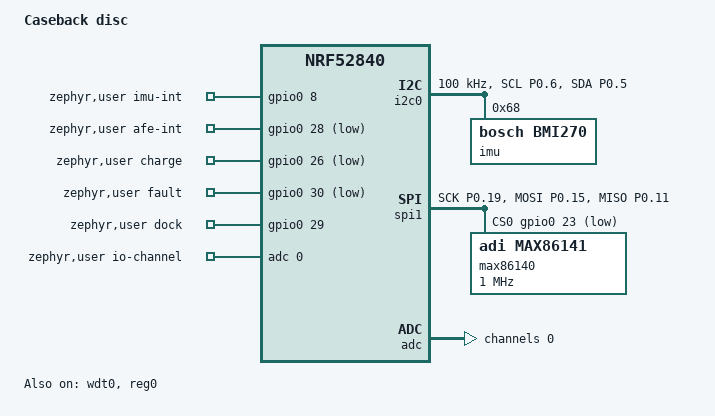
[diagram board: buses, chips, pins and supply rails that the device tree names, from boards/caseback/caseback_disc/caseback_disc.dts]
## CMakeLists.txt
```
cmake_minimum_required(VERSION 3.20.0)
list(APPEND BOARD_ROOT ${CMAKE_CURRENT_SOURCE_DIR})
list(APPEND DTS_ROOT ${CMAKE_CURRENT_SOURCE_DIR})
find_package(Zephyr REQUIRED HINTS $ENV{ZEPHYR_BASE})
project(caseback_fw)
target_sources(app PRIVATE src/main.c src/device.c src/protocol.c)
target_include_directories(app PRIVATE include)

if(CONFIG_BOARD_CASEBACK_DISC)
  target_sources(app PRIVATE src/disc.c src/bench_data.c src/history.c src/disc_history.c src/factory.c src/factory_state.c)
  target_sources_ifdef(CONFIG_CASEBACK_OPTICAL_PROFILE app PRIVATE src/optical_profile.c src/optical_stats.c src/optical_engine.c)
endif()
```

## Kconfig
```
mainmenu "Caseback firmware"

config CASEBACK_REQUIRE_ENCRYPTION
	bool "Require an encrypted link to read the INFO characteristic"
	default y
	help
	  INFO carries the device id, so decision D5 wants it readable only
	  after pairing. The bring-up prj.conf sets this to n so that nRF
	  Connect can read it before bonding.

config CASEBACK_HW_REV
	int "hw_rev reported in INFO_RESPONSE (major << 8 | minor)"
	default 1
	range 0 65535

config CASEBACK_FW_REV
	int "fw_rev reported in INFO_RESPONSE (major << 8 | minor)"
	default 1
	range 0 65535

config CASEBACK_OPTICAL_PROFILE
	bool "Enable SWD-armed optical characterization on a bench supply"
	depends on BOARD_CASEBACK_DISC
	default n

source "Kconfig.zephyr"
```

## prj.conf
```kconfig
# Bring-up configuration for the nRF52840 DK: serial console on, INFO readable
# before bonding. Production: west build ... -DEXTRA_CONF_FILE=prj_production.conf
# Zephyr v4.2.1.

# --- Bluetooth: peripheral, one link -------------------------------------
CONFIG_BT=y
CONFIG_BT_PERIPHERAL=y
CONFIG_BT_MAX_CONN=1
CONFIG_BT_DEVICE_NAME="Caseback"
# per-unit name "Caseback-XXXX" is set at runtime (bt_set_name)
CONFIG_BT_DEVICE_NAME_DYNAMIC=y
CONFIG_BT_DEVICE_NAME_MAX=16

# Connection parameters preferred by the peripheral, must equal
# CASEBACK_CONN_* in protocol.h (main.c has a BUILD_ASSERT): 1.25 ms units,
# 800..1200 = 1.0..1.5 s, latency 0, timeout 600 (10 ms units) = 6 s.
# The 1.5 s ceiling keeps timeout > 3 * interval_max, an iOS rule (spec/gatt.md,
# from Apple's guidelines from memory). The central (iPhone) picks the real interval.
CONFIG_BT_PERIPHERAL_PREF_MIN_INT=800
CONFIG_BT_PERIPHERAL_PREF_MAX_INT=1200
CONFIG_BT_PERIPHERAL_PREF_LATENCY=0
CONFIG_BT_PERIPHERAL_PREF_TIMEOUT=600

# ATT MTU 247 requested (CASEBACK_ATT_MTU_REQUESTED; iOS settles at 185 and frames
# are at most 182 bytes) over 251-byte LL packets.
# BT_CTLR_DATA_LENGTH_MAX is for the Zephyr LL; on the nRF SoftDevice
# Controller remove it if the symbol is undefined.
CONFIG_BT_L2CAP_TX_MTU=247
CONFIG_BT_BUF_ACL_TX_SIZE=251
CONFIG_BT_BUF_ACL_RX_SIZE=251
CONFIG_BT_USER_DATA_LEN_UPDATE=y
CONFIG_BT_CTLR_DATA_LENGTH_MAX=251

# --- Security (decision D5): LE Secure Connections, bonding, RPA ---------
CONFIG_BT_SMP=y
CONFIG_BT_BONDABLE=y
CONFIG_BT_PRIVACY=y
CONFIG_BT_SETTINGS=y
# iOS GATT cache (spec/gatt.md): Service Changed + database hash
CONFIG_BT_GATT_SERVICE_CHANGED=y
CONFIG_BT_GATT_CACHING=y
CONFIG_SETTINGS=y
CONFIG_FLASH=y
CONFIG_FLASH_PAGE_LAYOUT=y
CONFIG_FLASH_MAP=y
CONFIG_NVS=y
CONFIG_SETTINGS_NVS=y
# Secure-Connections-only mode is deliberately not enabled: with no display or
# keyboard the pairing is Just Works, and the SC-only mode of the host stack
# may demand an authenticated (MITM) link. Check before enabling:
# CONFIG_BT_SMP_SC_PAIR_ONLY=y

# --- Bring-up switches ----------------------------------------------------
CONFIG_CASEBACK_REQUIRE_ENCRYPTION=n

# --- Peripherals -----------------------------------------------------------
CONFIG_GPIO=y
CONFIG_I2C=y
CONFIG_SPI=y
CONFIG_HWINFO=y
CONFIG_WATCHDOG=y

# --- Console: the DK J-Link VCOM UART (not USB CDC) ------------------------
CONFIG_SERIAL=y
CONFIG_LOG=y
# (no CONFIG_LOG_* tuning here: production turns LOG off and dependent
# assignments would then not take effect)

# --- Power / memory --------------------------------------------------------
# Tickless idle is the nRF52 default; no CONFIG_PM (nRF52 has only idle and
# System OFF, nothing to gain yet).
CONFIG_TICKLESS_KERNEL=y
CONFIG_MAIN_STACK_SIZE=2048
CONFIG_SYSTEM_WORKQUEUE_STACK_SIZE=2048

CONFIG_BT_GATT_CLIENT=y
CONFIG_ENTROPY_GENERATOR=y

CONFIG_REBOOT=y
```

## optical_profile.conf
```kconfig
CONFIG_CASEBACK_OPTICAL_PROFILE=y
```

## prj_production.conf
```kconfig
# Production overlay on top of prj.conf:
#   west build -b <board> firmware/caseback-fw -- -DEXTRA_CONF_FILE=prj_production.conf

# INFO (device id) only after encryption, decision D5.
CONFIG_CASEBACK_REQUIRE_ENCRYPTION=y

# No serial, no console, no log backend: the UART would keep the SoC above
# the ~µA floor of the power model. LOG_INF() etc. compile to nothing.
CONFIG_SERIAL=n
CONFIG_CONSOLE=n
CONFIG_UART_CONSOLE=n
CONFIG_LOG=n

# Disable assertions in the bench image.
CONFIG_ASSERT=n

CONFIG_ADC=y
CONFIG_SENSOR=y
CONFIG_BT_SMP_APP_PAIRING_ACCEPT=y
CONFIG_BT_SMP_SC_PAIR_ONLY=y
CONFIG_BT_MAX_PAIRED=1

# Sensor FIFO and BLE frame buffers share the system workqueue.
CONFIG_SYSTEM_WORKQUEUE_STACK_SIZE=3072

# Keep malformed existing NVS media intact.
CONFIG_NVS_INIT_BAD_MEMORY_REGION=n
CONFIG_CASEBACK_FW_REV=4

# SWD boots at zero. Bound the linked image to one future OTA slot.
CONFIG_FLASH_LOAD_SIZE=0x66000

CONFIG_POWEROFF=y
```

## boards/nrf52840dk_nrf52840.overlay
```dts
/* nRF52840 DK bring-up wiring. Board labels/nexus come from the Zephyr
 * nrf52840dk devicetree (arduino_i2c, arduino_spi, arduino_header) and were
 * NOT checked against a real tree: no toolchain here. Assumed Zephyr 4.x.
 *
 * - BMI270 on I2C: arduino_i2c (P0.26 SDA / P0.27 SCL), address 0x68.
 * - MAX86140/41 on SPI (it has no I2C): arduino_spi, CS on Arduino D10,
 *   INT on Arduino D9. Arduino header indices: A0-A5 = 0-5, D0-D7 = 6-13,
 *   D8-D15 = 14-19, so D10 = 16 and D9 = 15.
 *   Resulting nRF pins (verify against the DK user guide):
 *     SCK D13 = P1.15, MISO D12 = P1.14, MOSI D11 = P1.13,
 *     CS D10 = P1.12, INT D9 = P1.11.
 * - The AFE core is 1.8 V and its SDO is a 1.8 V output: on a 3.3 V DK, SDO
 *   needs a level shifter or an AFE board that has one. INT is open drain
 *   (abs. max 6 V per the datasheet) and pulled up to the DK VDD below.
 * - P0.08 is the DK UART RXD (VCOM) and is no longer used for the AFE.
 */
#include <zephyr/dt-bindings/gpio/gpio.h>
#include <zephyr/dt-bindings/regulator/nrf5x.h>

/ {
	aliases {
		led0 = &led0;
	};

	zephyr,user {
		afe-int-gpios = <&arduino_header 15 (GPIO_ACTIVE_LOW | GPIO_PULL_UP)>; /* D9 */
	};
};

&arduino_i2c {
	status = "okay";
	clock-frequency = <I2C_BITRATE_STANDARD>;
};

&arduino_spi {
	status = "okay";
	cs-gpios = <&arduino_header 16 GPIO_ACTIVE_LOW>; /* D10 */

	/* No compatible: there is no upstream driver, main.c talks raw SPI.
	 * 1 MHz (datasheet max 8 MHz); mode 0 assumed from the timing text.
	 */
	max86140: max86140@0 {
		compatible = "adi,max86141";
		reg = <0>;
		spi-max-frequency = <1000000>;
	};
};

/* DC/DC on REG1 (the DK has the inductors; a custom board needs them too).
 * REG0 only matters when the SoC is fed from VDDH, not the case here.
 */
&reg1 {
	regulator-initial-mode = <NRF5X_REG_MODE_DCDC>;
};

&reg0 {
	status = "okay";
};
```

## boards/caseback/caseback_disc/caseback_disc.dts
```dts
/dts-v1/;
#include <nordic/nrf52840_qiaa.dtsi>
#include <zephyr/dt-bindings/adc/adc.h>
#include <zephyr/dt-bindings/adc/nrf-saadc.h>
#include <zephyr/dt-bindings/gpio/gpio.h>

/ {
	chosen {
		zephyr,sram = &sram0;
		zephyr,flash = &flash0;
		zephyr,code-partition = &slot0_partition;
	};
	model = "Caseback disc";
	compatible = "caseback,disc";
	aliases { watchdog0 = &wdt0; };
	zephyr,user {
		imu-int-gpios = <&gpio0 8 GPIO_ACTIVE_HIGH>;
		afe-int-gpios = <&gpio0 28 GPIO_ACTIVE_LOW>;
		charge-gpios = <&gpio0 26 (GPIO_ACTIVE_LOW | GPIO_PULL_UP)>;
		fault-gpios = <&gpio0 30 (GPIO_ACTIVE_LOW | GPIO_PULL_UP)>;
		dock-gpios = <&gpio0 29 GPIO_ACTIVE_HIGH>;
		io-channels = <&adc 0>;
	};
};
&pinctrl {
	i2c_run: i2c_run { group1 { psels = <NRF_PSEL(TWIM_SCL,0,6)>, <NRF_PSEL(TWIM_SDA,0,5)>; }; };
	i2c_sleep: i2c_sleep { group1 { psels = <NRF_PSEL(TWIM_SCL,0,6)>, <NRF_PSEL(TWIM_SDA,0,5)>; low-power-enable; }; };
	spi_run: spi_run { group1 { psels = <NRF_PSEL(SPIM_SCK,0,19)>, <NRF_PSEL(SPIM_MOSI,0,15)>, <NRF_PSEL(SPIM_MISO,0,11)>; }; };
	spi_sleep: spi_sleep { group1 { psels = <NRF_PSEL(SPIM_SCK,0,19)>, <NRF_PSEL(SPIM_MOSI,0,15)>, <NRF_PSEL(SPIM_MISO,0,11)>; low-power-enable; }; };
};
&gpio0 { status = "okay"; };
&gpiote { status = "okay"; };
&wdt0 { status = "okay"; };
&reg0 { status = "okay"; };
&reg1 { regulator-initial-mode = <NRF5X_REG_MODE_DCDC>; };
disc_i2c: &i2c0 {
	compatible = "nordic,nrf-twim";
	status = "okay";
	pinctrl-0 = <&i2c_run>; pinctrl-1 = <&i2c_sleep>; pinctrl-names = "default", "sleep";
	clock-frequency = <100000>;
	/* BMI270 init: register address followed by up to 256 configuration bytes. */
	zephyr,concat-buf-size = <257>;
	zephyr,flash-buf-max-size = <257>;
	imu: bmi270@68 { compatible = "bosch,bmi270"; reg = <0x68>; };
};
&spi1 {
	compatible = "nordic,nrf-spim";
	status = "okay";
	pinctrl-0 = <&spi_run>; pinctrl-1 = <&spi_sleep>; pinctrl-names = "default", "sleep";
	cs-gpios = <&gpio0 23 GPIO_ACTIVE_LOW>;
	max86140: ppg@0 { compatible = "adi,max86141"; reg = <0>; spi-max-frequency = <1000000>; };
};
&adc {
	status = "okay";
	#address-cells = <1>; #size-cells = <0>;
	channel@0 {
		reg = <0>; zephyr,gain = "ADC_GAIN_1_4"; zephyr,reference = "ADC_REF_INTERNAL";
		zephyr,acquisition-time = <ADC_ACQ_TIME(ADC_ACQ_TIME_MICROSECONDS,40)>;
		zephyr,input-positive = <NRF_SAADC_AIN1>; zephyr,resolution = <12>;
	};
};


&flash0 {
	partitions {
		compatible = "fixed-partitions";
		#address-cells = <1>;
		#size-cells = <1>;
		boot_partition: partition@0 { label = "mcuboot"; reg = <0x0 0xc000>; };
		slot0_partition: partition@c000 { label = "image-0"; reg = <0xc000 0x66000>; };
		slot1_partition: partition@72000 { label = "image-1"; reg = <0x72000 0x66000>; };
		history_partition: partition@d8000 { label = "history"; reg = <0xd8000 0x20000>; };
		storage_partition: partition@f8000 { label = "storage"; reg = <0xf8000 0x8000>; };
	};
};
```

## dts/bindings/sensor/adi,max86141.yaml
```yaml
description: MAX86141 optical front end
compatible: "adi,max86141"
include: spi-device.yaml
```

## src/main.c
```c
/* Caseback disc and development-kit firmware. */
#include <string.h>

#include <zephyr/kernel.h>
#include <zephyr/device.h>
#include <zephyr/devicetree.h>
#include <zephyr/version.h>
#include <zephyr/sys/atomic.h>
#include <zephyr/drivers/gpio.h>
#include <zephyr/drivers/i2c.h>
#include <zephyr/drivers/spi.h>
#include <zephyr/drivers/hwinfo.h>
#include <zephyr/drivers/watchdog.h>
#include <zephyr/bluetooth/bluetooth.h>
#include <zephyr/bluetooth/conn.h>
#include <zephyr/bluetooth/gatt.h>
#include <zephyr/bluetooth/uuid.h>
#include <zephyr/settings/settings.h>
#include <zephyr/logging/log.h>

#include "device.h"
#include "protocol.h"
#ifdef CONFIG_BOARD_CASEBACK_DISC
#include "disc.h"
#include "disc_history.h"
#include "factory.h"
#endif
#include <zephyr/sys/reboot.h>

LOG_MODULE_REGISTER(caseback, LOG_LEVEL_INF);

/* BMI270 on I2C (SDO low = 0x68). CHIP_ID register 0x00 reads 0x24 (BMI270
 * datasheet, from memory: log it, do not trust it until checked on the bench).
 */
#define BMI270_ADDR 0x68
#define BMI270_REG_CHIP_ID 0x00

#ifdef CONFIG_BOARD_CASEBACK_DISC
#define I2C_NODE DT_NODELABEL(disc_i2c)
#else
#define I2C_NODE DT_NODELABEL(arduino_i2c)
#endif
#define AFE_NODE DT_NODELABEL(max86140)
#define USER_NODE DT_PATH(zephyr_user)

/* Loop period: LED pulse + watchdog feed. The watchdog only proves that the
 * main thread runs, not that the BLE stack is healthy.
 */
#define STATUS_PERIOD_MS 2000
#define LED_PULSE_MS 20
#define WDT_TIMEOUT_MS 10000

/* Advertising intervals in 0.625 ms units. */
#ifdef CONFIG_BOARD_CASEBACK_DISC
#define ADV_INT_MIN 0x0020 /* 20 ms for the first 30 seconds */
#define ADV_INT_MAX 0x0020
#else
#define ADV_INT_MIN 0x00A0
#define ADV_INT_MAX 0x00F0
#endif

#ifndef CONFIG_BOARD_CASEBACK_DISC
#if DT_NODE_HAS_STATUS(I2C_NODE, okay)
static const struct device *const i2c_dev = DEVICE_DT_GET(I2C_NODE);
#else
static const struct device *const i2c_dev = NULL;
#endif
#endif

#if DT_NODE_EXISTS(DT_ALIAS(led0))
#define HAVE_LED 1
static const struct gpio_dt_spec led = GPIO_DT_SPEC_GET(DT_ALIAS(led0), gpios);
#endif

/* Zephyr 4.0+ dropped the delay argument of SPI_DT_SPEC_GET (assumed
 * threshold, check against the pinned tree).
 */
#if DT_NODE_EXISTS(AFE_NODE) && !defined(CONFIG_BOARD_CASEBACK_DISC)
#define HAVE_AFE 1
static const struct spi_dt_spec afe_spi = SPI_DT_SPEC_GET(AFE_NODE, SPI_WORD_SET(8) | SPI_TRANSFER_MSB, 1);
static const struct gpio_dt_spec afe_int = GPIO_DT_SPEC_GET(USER_NODE, afe_int_gpios);
#endif

static const struct device *const wdt = DEVICE_DT_GET_OR_NULL(DT_ALIAS(watchdog0));

/* Caseback GATT (spec/gatt.md): INFO read, CONTROL write-without-response
 * (phone to device), DATA notify (device to phone). UUIDs from protocol.h.
 */
#define DISC_UUID(w32) BT_UUID_128_ENCODE(w32, CASEBACK_UUID_W1, CASEBACK_UUID_W2, CASEBACK_UUID_W3, CASEBACK_UUID_W48)

static struct bt_uuid_128 caseback_svc_uuid =
	BT_UUID_INIT_128(DISC_UUID(CASEBACK_UUID_SERVICE_W32));
static struct bt_uuid_128 caseback_info_uuid =
	BT_UUID_INIT_128(DISC_UUID(CASEBACK_UUID_INFO_W32));
static struct bt_uuid_128 caseback_control_uuid =
	BT_UUID_INIT_128(DISC_UUID(CASEBACK_UUID_CONTROL_W32));
static struct bt_uuid_128 caseback_data_uuid =
	BT_UUID_INIT_128(DISC_UUID(CASEBACK_UUID_DATA_W32));

static struct caseback_info info;
static char adv_name[CASEBACK_NAME_MAX];

/* Advertising data: flags + 128-bit service UUID (iOS background scan needs
 * it in the advertisement). The per-unit name goes in the scan response.
 */
static const struct bt_data ad[] = {
	BT_DATA_BYTES(BT_DATA_FLAGS, (BT_LE_AD_GENERAL | BT_LE_AD_NO_BREDR)),
	BT_DATA_BYTES(BT_DATA_UUID128_ALL,
		      DISC_UUID(CASEBACK_UUID_SERVICE_W32)),
};
static struct bt_data sd[1];

/* Not BT_LE_ADV_CONN_NAME (deprecated). ONE_TIME so that we restart
 * advertising ourselves after a disconnect instead of relying on stack
 * behaviour that differs between versions.
 */
static const struct bt_le_adv_param adv_param = BT_LE_ADV_PARAM_INIT(
	BT_LE_ADV_OPT_CONN, ADV_INT_MIN, ADV_INT_MAX, NULL);

#ifdef CONFIG_BOARD_CASEBACK_DISC
static const struct bt_le_adv_param adv_slow = BT_LE_ADV_PARAM_INIT(
	BT_LE_ADV_OPT_CONN, 0x04c0, 0x04c0, NULL); /* 760 ms */
static int64_t fast_until;
static bool slow_active;
#endif
static atomic_t adv_active;
#ifdef CONFIG_BOARD_CASEBACK_DISC
static atomic_t shipping_sleep;
#endif
static atomic_t link_up;
static atomic_ptr_t link_conn; /* ref held until the link work runs or the link drops */
static bool bt_ready;

#ifdef CONFIG_CASEBACK_REQUIRE_ENCRYPTION
#define INFO_READ_PERM BT_GATT_PERM_READ_ENCRYPT
#define CONTROL_WRITE_PERM BT_GATT_PERM_WRITE_ENCRYPT
#define DATA_CCC_PERM (BT_GATT_PERM_READ_ENCRYPT | BT_GATT_PERM_WRITE_ENCRYPT)
#else
#define INFO_READ_PERM BT_GATT_PERM_READ
#define CONTROL_WRITE_PERM BT_GATT_PERM_WRITE
#define DATA_CCC_PERM (BT_GATT_PERM_READ | BT_GATT_PERM_WRITE)
#endif

/* Largest CONTROL value: ATT MTU - 3. Writes are queued here and handled on
 * the system workqueue, so the BT callback does no blocking work (a notify
 * can wait for a TX buffer).
 */
#define CONTROL_MAX_WRITE (CASEBACK_ATT_MTU_REQUESTED - 3)
#define CONTROL_QUEUE_DEPTH 2

struct control_msg {
	struct bt_conn *conn; /* referenced */
	uint64_t received_ms;
	uint16_t len;
	uint8_t data[CONTROL_MAX_WRITE];
};

K_MSGQ_DEFINE(control_q, sizeof(struct control_msg), CONTROL_QUEUE_DEPTH, 4);
static void control_work_fn(struct k_work *work);
static K_WORK_DEFINE(control_work, control_work_fn);

static ssize_t read_info(struct bt_conn *conn, const struct bt_gatt_attr *attr,
			 void *buf, uint16_t len, uint16_t offset)
{
	uint8_t frame[CASEBACK_MAX_FRAME];
	size_t frame_len = 0;

	if (caseback_build_info_frame(frame, sizeof(frame), &frame_len, &info) != CASEBACK_OK) {
		return BT_GATT_ERR(BT_ATT_ERR_UNLIKELY);
	}
	return bt_gatt_attr_read(conn, attr, buf, len, offset, frame, frame_len);
}

static ssize_t write_control(struct bt_conn *conn, const struct bt_gatt_attr *attr,
			     const void *buf, uint16_t len, uint16_t offset, uint8_t flags)
{
	struct control_msg msg;
#ifdef CONFIG_BOARD_CASEBACK_DISC
	if (factory_pending()) return BT_GATT_ERR(BT_ATT_ERR_WRITE_NOT_PERMITTED);
#endif

	if (offset != 0 || len > sizeof(msg.data)) {
		return BT_GATT_ERR(BT_ATT_ERR_INVALID_ATTRIBUTE_LEN);
	}
	msg.received_ms = k_uptime_get();
	msg.conn = bt_conn_ref(conn);
	msg.len = len;
	memcpy(msg.data, buf, len);
	if (k_msgq_put(&control_q, &msg, K_NO_WAIT) != 0) {
		LOG_WRN("CONTROL queue full, frame dropped");
		bt_conn_unref(msg.conn);
		return len;
	}
	k_work_submit(&control_work);
	return len;
}

static void data_ccc_changed(const struct bt_gatt_attr *attr, uint16_t value)
{
	LOG_INF("DATA notifications %s", value == BT_GATT_CCC_NOTIFY ? "on" : "off");
}

BT_GATT_SERVICE_DEFINE(
	caseback_svc, BT_GATT_PRIMARY_SERVICE(&caseback_svc_uuid.uuid),
	BT_GATT_CHARACTERISTIC(&caseback_info_uuid.uuid, BT_GATT_CHRC_READ, INFO_READ_PERM,
			       read_info, NULL, NULL),
	BT_GATT_CHARACTERISTIC(&caseback_control_uuid.uuid, BT_GATT_CHRC_WRITE_WITHOUT_RESP,
			       CONTROL_WRITE_PERM, NULL, write_control, NULL),
	BT_GATT_CHARACTERISTIC(&caseback_data_uuid.uuid, BT_GATT_CHRC_NOTIFY, BT_GATT_PERM_NONE,
			       NULL, NULL, NULL),
	BT_GATT_CCC(data_ccc_changed, DATA_CCC_PERM));

int disc_notify(struct bt_conn *conn, const uint8_t *bytes, size_t n)
{
#ifdef CONFIG_BOARD_CASEBACK_DISC
	if (factory_pending()) return -EACCES;
#endif
	if (n > bt_gatt_get_mtu(conn)-3U || !bt_gatt_is_subscribed(conn,&caseback_svc.attrs[6],BT_GATT_CCC_NOTIFY))
		return -EMSGSIZE;
	return bt_gatt_notify(conn,&caseback_svc.attrs[6],bytes,n);
}

static void control_work_fn(struct k_work *work)
{
	struct control_msg msg;
	uint8_t reply[CASEBACK_MAX_FRAME];
	size_t reply_len = 0;

	while (k_msgq_get(&control_q, &msg, K_NO_WAIT) == 0) {
		struct bt_conn_info link;
		if (bt_conn_get_info(msg.conn,&link) || link.state != BT_CONN_STATE_CONNECTED) {
			bt_conn_unref(msg.conn); continue;
		}
#ifdef CONFIG_BOARD_CASEBACK_DISC
		int rc = disc_control(msg.conn,&info,msg.data,msg.len,msg.received_ms,reply,sizeof(reply),&reply_len);
#else
		int rc = caseback_handle_control(&info,msg.data,msg.len,reply,sizeof(reply),&reply_len);
#endif
		if (rc != CASEBACK_OK) {
			LOG_ERR("no reply for a %u byte CONTROL write", msg.len);
		} else if (!reply_len) {
			/* HISTORY_ACK succeeds without a notification. */
		} else if (reply_len > (size_t)(bt_gatt_get_mtu(msg.conn) - 3)) {
			/* never truncate a frame: the phone has not exchanged the MTU yet */
			LOG_WRN("reply of %u bytes exceeds ATT MTU %u, dropped", (unsigned)reply_len,
				(unsigned)bt_gatt_get_mtu(msg.conn));
		} else {
			int rc = bt_gatt_notify_uuid(msg.conn, &caseback_data_uuid.uuid, caseback_svc.attrs,
						     reply, reply_len);

#ifdef CONFIG_BOARD_CASEBACK_DISC
			if (reply[2] == CASEBACK_MSG_HISTORY_QUERY)
				disc_history_replied(msg.conn, rc == 0);
#endif
			if (rc) {
				LOG_WRN("DATA notify failed %d", rc);
			}
		}
		bt_conn_unref(msg.conn);
	}
}

/* All starts, stops and interval changes run on one workqueue. */
static void advertise(struct k_work *work)
{
#ifdef CONFIG_BOARD_CASEBACK_DISC
	if (atomic_get(&shipping_sleep) || factory_pending()) return;
#endif
	const struct bt_le_adv_param *params = &adv_param;
	if (atomic_get(&link_up))
		return;
	bool active = atomic_get(&adv_active);
#ifdef CONFIG_BOARD_CASEBACK_DISC
	int64_t now = k_uptime_get();
	if (!active) {
		fast_until = now + 30000;
		slow_active = false;
	} else if (!slow_active && now >= fast_until) {
		if (bt_le_adv_stop())
			return;
		atomic_clear(&adv_active);
		slow_active = true;
	} else {
		return;
	}
	if (slow_active)
		params = &adv_slow;
#else
	if (active)
		return;
#endif
	int rc = bt_le_adv_start(params, ad, ARRAY_SIZE(ad), sd, ARRAY_SIZE(sd));
	if (!rc) {
		atomic_set(&adv_active, 1);
		LOG_INF("advertising as %s", adv_name);
	} else {
		LOG_WRN("advertising start failed %d", rc);
	}
}
static K_WORK_DEFINE(adv_work, advertise);

/* ATT MTU request (the size itself comes from CONFIG_BT_L2CAP_TX_MTU),
 * data length and connection parameters, done off the BT callback.
 */
BUILD_ASSERT(CONFIG_BT_L2CAP_TX_MTU >= CASEBACK_ATT_MTU_REQUESTED, "L2CAP TX MTU below the protocol");
BUILD_ASSERT(CONFIG_BT_PERIPHERAL_PREF_MIN_INT == CASEBACK_CONN_INTERVAL_MIN_MS * 4 / 5 &&
		     CONFIG_BT_PERIPHERAL_PREF_MAX_INT == CASEBACK_CONN_INTERVAL_MAX_MS * 4 / 5 &&
		     CONFIG_BT_PERIPHERAL_PREF_LATENCY == CASEBACK_CONN_LATENCY &&
		     CONFIG_BT_PERIPHERAL_PREF_TIMEOUT == CASEBACK_CONN_SUPERVISION_TIMEOUT_MS / 10,
	     "prj.conf connection parameters differ from protocol.h");

static void mtu_done(struct bt_conn *conn, uint8_t err, struct bt_gatt_exchange_params *params)
{
	LOG_INF("MTU exchange %s, ATT MTU %u", err ? "failed" : "done",
		(unsigned)bt_gatt_get_mtu(conn));
}

static struct bt_gatt_exchange_params mtu_params = {.func = mtu_done};

static void link_work_fn(struct k_work *work)
{
	struct bt_conn *conn = atomic_ptr_clear(&link_conn);
	int rc;

	if (conn == NULL) {
		return;
	}
	rc = bt_gatt_exchange_mtu(conn, &mtu_params);
	if (rc) {
		LOG_WRN("MTU exchange request failed %d", rc);
	}
	if (IS_ENABLED(CONFIG_BT_USER_DATA_LEN_UPDATE)) {
		rc = bt_conn_le_data_len_update(conn, BT_LE_DATA_LEN_PARAM_MAX);
		if (rc) {
			LOG_WRN("data length update failed %d", rc);
		}
	}
	/* interval in 1.25 ms units, timeout in 10 ms units */
	rc = bt_conn_le_param_update(conn, BT_LE_CONN_PARAM(CASEBACK_CONN_INTERVAL_MIN_MS * 4 / 5,
							    CASEBACK_CONN_INTERVAL_MAX_MS * 4 / 5,
							    CASEBACK_CONN_LATENCY,
							    CASEBACK_CONN_SUPERVISION_TIMEOUT_MS / 10));
	if (rc) {
		LOG_WRN("connection parameter update failed %d", rc);
	}
	bt_conn_unref(conn);
}

static K_WORK_DEFINE(link_work, link_work_fn);

static void on_connected(struct bt_conn *conn, uint8_t err)
{
	atomic_set(&adv_active, 0);
	if (err) {
		LOG_ERR("connect failed 0x%02x", err);
		return;
	}
#ifdef CONFIG_BOARD_CASEBACK_DISC
	disc_connected();
#endif
	atomic_set(&link_up, 1);
	atomic_ptr_set(&link_conn, bt_conn_ref(conn));
	k_work_submit(&link_work);
	LOG_INF("connected");
}

static void on_disconnected(struct bt_conn *conn, uint8_t reason)
{
	struct bt_conn *pending = atomic_ptr_clear(&link_conn);

	if (pending != NULL) {
		bt_conn_unref(pending);
	}
	atomic_set(&link_up, 0);
#ifdef CONFIG_BOARD_CASEBACK_DISC
	disc_disconnected();
#endif
	LOG_INF("disconnected, reason 0x%02x", reason);
}

/* With BT_MAX_CONN=1 the connection object is only free once it is recycled,
 * so advertising restarts here (after disconnected); the main loop retries if
 * this fails.
 */
static void on_recycled(void)
{
	atomic_clear(&adv_active);
	k_work_submit(&adv_work);
}

BT_CONN_CB_DEFINE(conn_cbs) = {
	.connected = on_connected,
	.disconnected = on_disconnected,
	.recycled = on_recycled,
};

#ifndef CONFIG_BOARD_CASEBACK_DISC
static void probe_bmi270(void)
{
	uint8_t id;

	if (i2c_dev == NULL || !device_is_ready(i2c_dev)) {
		LOG_ERR("I2C not ready");
		return;
	}
	if (i2c_reg_read_byte(i2c_dev, BMI270_ADDR, BMI270_REG_CHIP_ID, &id) == 0) {
		LOG_INF("BMI270 @0x%02x CHIP_ID=0x%02x", BMI270_ADDR, id);
	} else {
		LOG_WRN("no I2C device at 0x%02x", BMI270_ADDR);
	}
}

static void probe_afe(void)
{
#ifdef HAVE_AFE
	uint8_t tx[CASEBACK_AFE_SPI_FRAME_LEN];
	uint8_t rx[CASEBACK_AFE_SPI_FRAME_LEN] = {0};
	const struct spi_buf txb = {.buf = tx, .len = sizeof(tx)};
	const struct spi_buf rxb = {.buf = rx, .len = sizeof(rx)};
	const struct spi_buf_set txs = {.buffers = &txb, .count = 1};
	const struct spi_buf_set rxs = {.buffers = &rxb, .count = 1};
	const char *part;
	int rc;

	if (!spi_is_ready_dt(&afe_spi)) {
		LOG_ERR("SPI not ready");
		return;
	}
	if (gpio_is_ready_dt(&afe_int)) {
		(void)gpio_pin_configure_dt(&afe_int, GPIO_INPUT);
	}

	caseback_afe_build_read(CASEBACK_AFE_REG_PART_ID, tx);
	rc = spi_transceive_dt(&afe_spi, &txs, &rxs);
	if (rc) {
		LOG_ERR("AFE SPI transfer failed %d", rc);
		return;
	}
	/* Data byte is the third one of the frame. */
	part = caseback_afe_part_name(rx[2]);
	if (part != NULL) {
		LOG_INF("AFE PART_ID=0x%02x (%s)", rx[2], part);
	} else {
		/* 0x00/0xFF usually means no device, wiring, 1.8 V level or SPI mode. */
		LOG_WRN("AFE PART_ID=0x%02x, expected 0x%02x/0x%02x", rx[2],
			CASEBACK_AFE_PART_ID_MAX86140, CASEBACK_AFE_PART_ID_MAX86141);
	}
#else
	LOG_WRN("no max86140 node in the devicetree");
#endif
}

#endif

static void wdt_start(int *channel)
{
	const struct wdt_timeout_cfg cfg = {
		.window = {.min = 0, .max = WDT_TIMEOUT_MS},
		.callback = NULL,
		.flags = WDT_FLAG_RESET_SOC,
	};

	*channel = -1;
	if (wdt == NULL || !device_is_ready(wdt)) {
		LOG_WRN("no watchdog");
		return;
	}
	*channel = wdt_install_timeout(wdt, &cfg);
	if (*channel < 0 || wdt_setup(wdt, WDT_OPT_PAUSE_HALTED_BY_DBG) != 0) {
		LOG_ERR("watchdog setup failed %d", *channel);
		*channel = -1;
	}
}

static void led_pulse(void)
{
#ifdef HAVE_LED
	gpio_pin_set_dt(&led, 1);
	k_msleep(LED_PULSE_MS);
	gpio_pin_set_dt(&led, 0);
#else
	k_msleep(LED_PULSE_MS);
#endif
}

int main(void)
{
	uint8_t raw_id[CASEBACK_DEVICE_ID_LEN] = {0};
	int wdt_ch;
	int rc;

	LOG_INF("Caseback bring-up");

#ifdef HAVE_LED
	if (!gpio_is_ready_dt(&led) || gpio_pin_configure_dt(&led, GPIO_OUTPUT_INACTIVE)) {
		LOG_WRN("LED not available");
	}
#endif

	/* device_id from the hardware id (nRF: FICR DEVICEID, 8 bytes). */
	rc = hwinfo_get_device_id(raw_id, sizeof(raw_id));
	if (rc != sizeof(raw_id)) {
		LOG_ERR("Incomplete hardware identifier: %d", rc);
		k_msleep(1000); sys_reboot(SYS_REBOOT_COLD);
	}
	caseback_device_id_normalize(info.device_id, raw_id, rc);
	info.hw_rev = CONFIG_CASEBACK_HW_REV;
	info.fw_rev = CONFIG_CASEBACK_FW_REV;
	info.capabilities = caseback_capabilities(CASEBACK_IMPLEMENTED_CAPS,
					       IS_ENABLED(CONFIG_CASEBACK_REQUIRE_ENCRYPTION));
	(void)caseback_build_name(adv_name, sizeof(adv_name), info.device_id);

	#ifdef CONFIG_BOARD_CASEBACK_DISC
	info.capabilities = caseback_capabilities(disc_init(),IS_ENABLED(CONFIG_CASEBACK_REQUIRE_ENCRYPTION));
	int factory = factory_boot();
	if (factory < 0) { k_msleep(1500); sys_reboot(SYS_REBOOT_COLD); }
	if (factory == FACTORY_RETIRED) disc_poweroff(disc_dock_level() != 1);
#else
	probe_bmi270();
	probe_afe();
#endif
	wdt_start(&wdt_ch);

	rc = bt_enable(NULL);
	if (rc) {
		LOG_ERR("bt_enable failed %d", rc);
		k_msleep(1000); sys_reboot(SYS_REBOOT_COLD);
	} else {
		bt_ready = true;
		if (IS_ENABLED(CONFIG_BT_SETTINGS)) {
			if (settings_load()) { k_msleep(1000); sys_reboot(SYS_REBOOT_COLD); }
		}
		#ifdef CONFIG_BOARD_CASEBACK_DISC
		if (factory_should_sleep(IS_ENABLED(CONFIG_CASEBACK_OPTICAL_PROFILE), disc_bond_count(), disc_dock_level())) {
			(void)bt_disable();
			disc_poweroff(true);
		}
		info.capabilities |= disc_start_history();
		if (disc_security_init()) { k_msleep(1000); sys_reboot(SYS_REBOOT_COLD); }
#endif
		if (IS_ENABLED(CONFIG_BT_DEVICE_NAME_DYNAMIC)) {
			(void)bt_set_name(adv_name);
		}
		sd[0].type = BT_DATA_NAME_COMPLETE;
		sd[0].data = (const uint8_t *)adv_name;
		sd[0].data_len = (uint8_t)strlen(adv_name);
		k_work_submit(&adv_work);
	}

	/* Never return: keep the status pulse and the watchdog alive so a BLE
	 * failure stays visible (and retried) instead of silently stopping.
	 */
	while (1) {
#ifdef CONFIG_BOARD_CASEBACK_DISC
		factory_poll();
		disc_check_fixture();
		if (!factory_pending() && factory_should_sleep(IS_ENABLED(CONFIG_CASEBACK_OPTICAL_PROFILE),
		                                                    disc_bond_count(), disc_dock_level())) {
			atomic_set(&shipping_sleep, 1);
			(void)bt_disable();
			disc_poweroff(true);
		}
#endif
		if (wdt_ch >= 0) {
			(void)wdt_feed(wdt, wdt_ch);
		}
		if (bt_ready && !atomic_get(&link_up)) {
			k_work_submit(&adv_work);
		}
		led_pulse();
		k_msleep(STATUS_PERIOD_MS - LED_PULSE_MS);
	}
	return 0;
}
```

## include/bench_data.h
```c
#pragma once
#include "protocol.h"
#include <stddef.h>
#include <stdint.h>
int bench_battery(int32_t mv, int dock, int charging_pin, int fault_pin,
                  struct caseback_battery *out);
size_t bench_green(const uint8_t *fifo, size_t words, uint8_t *out, size_t cap);
```

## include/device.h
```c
#pragma once

/* Zephyr-free device logic: advertised name, device id, capability mask,
 * CONTROL-frame dispatch, AFE probe frame. Host-testable (tests/test_device.c);
 * main.c only supplies the raw inputs.
 */
#include <stdbool.h>
#include <stddef.h>
#include <stdint.h>

#include "protocol.h"

/* Advertised name = prefix + last two device_id bytes as upper-case hex. */
#define CASEBACK_NAME_PREFIX "Caseback-"
#define CASEBACK_NAME_SUFFIX_HEX 4u
#define CASEBACK_NAME_MAX (sizeof(CASEBACK_NAME_PREFIX) - 1u + CASEBACK_NAME_SUFFIX_HEX + 1u)

/* Bits 0..7 are defined by the spec (protocol.h); 8..31 are reserved. */
#define CASEBACK_CAP_KNOWN_MASK 0xFFu

/* What this firmware build really implements. INFO/CONTROL/DATA only, no
 * streams, log or DFU yet; raise it together with the feature, never before.
 * ENCRYPTED_ONLY is not listed here: it follows the Kconfig option.
 */
#define CASEBACK_IMPLEMENTED_CAPS CASEBACK_CAP_NONE

/* Copy up to CASEBACK_DEVICE_ID_LEN bytes of `raw` (raw_len <= 0 or NULL: none)
 * into `out`, zero-padding the rest.
 * Returns the number of raw bytes used.
 */
size_t caseback_device_id_normalize(uint8_t out[CASEBACK_DEVICE_ID_LEN], const uint8_t *raw,
				 int raw_len);

/* Writes "Caseback-XXXX" and a NUL. Returns the name length, or -1 if
 * `cap` < CASEBACK_NAME_MAX or an argument is NULL.
 */
int caseback_build_name(char *out, size_t cap, const uint8_t id[CASEBACK_DEVICE_ID_LEN]);

/* `implemented` restricted to the spec-defined bits, plus ENCRYPTED_ONLY when
 * every characteristic requires an encrypted link.
 */
uint32_t caseback_capabilities(uint32_t implemented, bool encrypted_only);

/* Complete INFO_RESPONSE frame for `info` (capabilities are masked to the
 * known bits). Returns CASEBACK_OK or an enum caseback_error from the encoder.
 */
int caseback_build_info_frame(uint8_t *out, size_t out_cap, size_t *out_len,
			   const struct caseback_info *info);

/* One write on CONTROL -> one frame to notify on DATA.
 * `in`/`in_len` are the raw ATT value. The reply is INFO_RESPONSE for
 * INFO_REQUEST and an ERROR frame for anything undecodable, unsupported or
 * not phone-to-device (msg_type 0 in the ERROR when the header is unreadable).
 * `out_cap` should be CASEBACK_MAX_FRAME. Returns CASEBACK_OK with the reply in
 * `out`/`out_len`, or the encoder error (nothing to send).
 */
int caseback_handle_control(const struct caseback_info *info, const uint8_t *in, size_t in_len,
			 uint8_t *out, size_t out_cap, size_t *out_len);

/* MAX86140/MAX86141 PPG AFE, SPI only (datasheet "MAX86140/MAX86141", Maxim/Analog Devices).
 * Register read = 3-byte frame under one CSB low: {address, command, dummy}; the
 * data byte is clocked out during the third byte. PART_ID (0xFF) reads 0x24 on
 * the MAX86140 and 0x25 on the MAX86141.
 * Figures 35 and 36 place W=0 / R=1 at bit 7 of the command byte.
 */
#define CASEBACK_AFE_REG_PART_ID 0xFFu
#define CASEBACK_AFE_SPI_CMD_READ 0x80u
#define CASEBACK_AFE_SPI_FRAME_LEN 3u
#define CASEBACK_AFE_PART_ID_MAX86140 0x24u
#define CASEBACK_AFE_PART_ID_MAX86141 0x25u

void caseback_afe_build_read(uint8_t reg, uint8_t tx[CASEBACK_AFE_SPI_FRAME_LEN]);

/* "MAX86140" / "MAX86141", or NULL for any other value. */
const char *caseback_afe_part_name(uint8_t part_id);
```

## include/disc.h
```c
#pragma once
#include "device.h"
#include <zephyr/bluetooth/conn.h>

uint32_t disc_init(void);
int disc_security_init(void);
uint32_t disc_start_history(void);
int disc_control(struct bt_conn *conn, const struct caseback_info *info,
                 const uint8_t *in, size_t n, uint64_t received_ms,
                 uint8_t *out, size_t cap, size_t *out_n);
int disc_notify(struct bt_conn *conn, const uint8_t *bytes, size_t n);

void disc_connected(void);
void disc_disconnected(void);
void disc_check_fixture(void);
```

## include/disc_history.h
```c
#pragma once
#include "protocol.h"
#include <zephyr/bluetooth/conn.h>

bool disc_history_init(uint32_t boot);
int disc_history_request(struct bt_conn *conn, const struct caseback_frame *frame,
			 uint8_t *payload, size_t *len);
void disc_history_replied(struct bt_conn *conn, bool success);
bool disc_history_sample(int16_t axes[3]);
uint16_t disc_sequence(void);
void disc_sequence_sent(void);
bool disc_streaming(void);
```

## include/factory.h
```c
#pragma once
#include <stdbool.h>
#include <stddef.h>
#include <stdint.h>
#define FACTORY_TOKEN_SIZE 16
#define FACTORY_DIGEST_SIZE 32

enum factory_stage { FACTORY_NEW, FACTORY_ARMED, FACTORY_PENDING, FACTORY_DONE };
enum factory_mark { FACTORY_NO_MARK, FACTORY_WIPE_SETTINGS = 0x46435731, FACTORY_SEALED = 0x46435331 };
struct factory_record { uint32_t stage; uint8_t digest[FACTORY_DIGEST_SIZE]; uint32_t crc; };
struct factory_ops {
	int (*mark_read)(uint32_t *);
	int (*mark_save)(uint32_t);
	int (*state_read)(struct factory_record *);
	int (*history_erase)(void);
	int (*settings_erase)(void);
};
enum factory_result { FACTORY_READY, FACTORY_RETIRED };
int factory_recover(const struct factory_ops *ops, struct factory_record *record);
void factory_set(struct factory_record *record, enum factory_stage stage, const uint8_t *digest);
bool factory_matches(const struct factory_record *record, const uint8_t *digest,
		     bool docked, bool bonded);
bool factory_armable(const struct factory_record *record, bool docked, bool linked, bool bonded);
int factory_boot(void);
void factory_poll(void);
bool factory_pending(void);
unsigned disc_bond_count(void);
int disc_dock_level(void);
void disc_poweroff(bool wake_high);
int disc_history_factory_mark(uint32_t *mark);
int disc_history_factory_save(uint32_t mark);
int disc_history_factory_erase(void);
int disc_factory_erase_region(bool history);

bool factory_should_sleep(bool optical_lab, unsigned bonds, int dock);
```

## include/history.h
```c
#pragma once

#include <stdbool.h>
#include <stddef.h>
#include <stdint.h>

#define HISTORY_SLOTS 100
#define EPOCHS_PER_PAGE 96
#define HISTORY_EPOCH_MS 30000
#define HISTORY_ACK_KEY HISTORY_SLOTS

/* Private NVS schema v1. Nordic and the supported test hosts are little-endian.
 * Every update replaces one NVS value atomically; its checksum covers the data. */
struct history_page {
	uint64_t uptime;
	uint32_t boot, first;
	uint8_t count, version, activity[EPOCHS_PER_PAGE];
} __attribute__((packed));

#define HISTORY_MAX_BYTES (sizeof(struct history_page) + sizeof(uint16_t))

struct history_ack {
	uint32_t cursor;
	uint16_t crc;
} __attribute__((packed));

struct history_log {
	struct history_page pages[HISTORY_SLOTS];
	uint32_t oldest, next, acknowledged;
	unsigned newest;
};

typedef int (*history_write)(unsigned key, const void *data, size_t size);

struct activity_window {
	uint64_t second;
	int16_t axes[3];
	unsigned count, changes;
	bool previous, gap;
};

int history_load(struct history_log *log, unsigned key, const void *data, size_t size);
int history_recover(struct history_log *log);
int history_append(struct history_log *log, uint32_t boot, uint64_t uptime,
		   unsigned activity, bool gap, history_write write);
int history_acknowledge(struct history_log *log, uint32_t cursor, history_write write);
bool history_epoch(const struct history_log *log, uint32_t cursor, uint32_t *boot,
		   uint64_t *uptime, uint8_t *activity, bool *gap);
bool activity_sample(struct activity_window *window, uint64_t second, const int16_t *axes);

/* Payloads from the existing HISTORY_QUERY and STREAM_DATA/EPOCH definitions. */
uint32_t history_query(const struct history_log *log, uint32_t cursor, uint16_t limit,
		       uint32_t *first, uint8_t payload[9]);
bool history_payload(const struct history_log *log, uint32_t cursor, uint16_t seq,
		     uint8_t payload[26]);

#define HISTORY_FORMAT_KEY (HISTORY_ACK_KEY + 1)
typedef int (*history_read)(unsigned key, void *data, size_t size);
int history_open(struct history_log *log, history_read read, history_write write,
		 int (*legacy)(struct history_log *));
```

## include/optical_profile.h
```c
#pragma once

#include <stdbool.h>
#include <stdint.h>

#define PROFILE_SHORT 0x50534631u
#define PROFILE_DAY_NIGHT 0x50534632u
#define PROFILE_STOP 0x53544f50u
#define PROFILE_MAX_WINDOWS 672u
#define PROFILE_HEADER_WORDS 8u
#define PROFILE_ROW_WORDS 6u

struct optical_slot { uint32_t start_ms, duration_ms; };
struct optical_counts {
	uint64_t sum;
	uint32_t count, min, max, rail;
};

unsigned optical_windows(uint32_t command);
struct optical_slot optical_window(uint32_t command, unsigned index);
void optical_add(struct optical_counts *stats, uint32_t adc);
bool optical_count_ok(uint32_t count, uint32_t duration_ms);
void profile_check_request(void);
bool profile_is_active(void);
bool profile_permitted(void);
bool profile_led(bool enable);
int profile_green(uint8_t samples[48]);

extern volatile uint32_t caseback_optical_profile[PROFILE_HEADER_WORDS + PROFILE_ROW_WORDS * PROFILE_MAX_WINDOWS];
uint32_t optical_tick(int64_t now);
```

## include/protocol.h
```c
/* SPDX-License-Identifier: Apache-2.0 */
#pragma once

/* Caseback protocol v0.2 (caseback-protocol/spec). Little-endian, fixed layouts.
 * Implemented here: framing, INFO, ERROR, TIME_ANCHOR, CONFIG, BATTERY.
 * STREAM_DATA, STREAM_CONTROL and HISTORY_* are specified only.
 */

#include <stddef.h>
#include <stdint.h>

#define CASEBACK_MAGIC 0xA5u
#define CASEBACK_PROTO_VER 0x01u
#define CASEBACK_HEADER_LEN 5u
#define CASEBACK_CRC_LEN 2u
#define CASEBACK_MAX_FRAME 182u /* ATT_MTU 185 - 3 */
#define CASEBACK_MAX_PAYLOAD (CASEBACK_MAX_FRAME - CASEBACK_HEADER_LEN - CASEBACK_CRC_LEN) /* 175 */

/* Message types */
#define CASEBACK_MSG_INFO_REQUEST 0x01u
#define CASEBACK_MSG_INFO_RESPONSE 0x02u
#define CASEBACK_MSG_ERROR 0x03u
#define CASEBACK_MSG_TIME_ANCHOR 0x04u
#define CASEBACK_MSG_STREAM_DATA 0x10u
#define CASEBACK_MSG_STREAM_CONTROL 0x11u
#define CASEBACK_MSG_HISTORY_QUERY 0x12u
#define CASEBACK_MSG_HISTORY_ACK 0x13u
#define CASEBACK_MSG_CONFIG_SET 0x20u
#define CASEBACK_MSG_CONFIG_STATE 0x21u
#define CASEBACK_MSG_BATTERY 0x22u
#define CASEBACK_MSG_DFU_RESERVED_FIRST 0x30u /* 0x30..0x3F: standard SMP DFU */
#define CASEBACK_MSG_DFU_RESERVED_LAST 0x3Fu

/* Payload sizes */
#define CASEBACK_INFO_PAYLOAD_LEN 16u
#define CASEBACK_ERROR_PAYLOAD_LEN 4u
#define CASEBACK_TIME_ANCHOR_REQUEST_LEN 8u
#define CASEBACK_TIME_ANCHOR_REPLY_LEN 12u
#define CASEBACK_CONFIG_PAYLOAD_LEN 26u
#define CASEBACK_BATTERY_PAYLOAD_LEN 12u
#define CASEBACK_DEVICE_ID_LEN 8u

/* Capability bits (caseback-protocol/spec/messages.md); bits 8..31 reserved */
#define CASEBACK_CAP_NONE 0x00000000u
#define CASEBACK_CAP_PPG_RAW (1u << 0)
#define CASEBACK_CAP_PPG_SUMMARY (1u << 1)
#define CASEBACK_CAP_ACCEL (1u << 2)
#define CASEBACK_CAP_SPO2 (1u << 3)
#define CASEBACK_CAP_TEMPERATURE (1u << 4)
#define CASEBACK_CAP_DFU_SMP (1u << 5)
#define CASEBACK_CAP_IBI_LOG (1u << 6)
#define CASEBACK_CAP_ENCRYPTED_ONLY (1u << 7)

/* Config enums */
#define CASEBACK_MODE_NIGHT 0u
#define CASEBACK_MODE_DAY 1u
#define CASEBACK_MODE_WORKOUT 2u
#define CASEBACK_MODE_RAW 3u
#define CASEBACK_PAYLOAD_FORMAT_SUMMARY 0u
#define CASEBACK_PAYLOAD_FORMAT_STREAM_RAW 1u
#define CASEBACK_LED_GREEN (1u << 0)
#define CASEBACK_LED_RED (1u << 1)
#define CASEBACK_LED_IR (1u << 2)
#define CASEBACK_MAX_PPG_RATE_HZ 400u
#define CASEBACK_CHARGING_NOT_CHARGING 0u
#define CASEBACK_CHARGING_CHARGING 1u
#define CASEBACK_CHARGING_COMPLETE 2u
#define CASEBACK_CHARGING_FAULT 3u
#define CASEBACK_CHARGING_UNKNOWN 0xFFu
#define CASEBACK_PERCENT_UNKNOWN 0xFFu
#define CASEBACK_CURRENT_UNKNOWN 0xFFFFu

/* GATT (caseback-protocol/spec/gatt.md). Zephyr:
 * BT_UUID_128_ENCODE(CASEBACK_UUID_INFO_W32, CASEBACK_UUID_W1, CASEBACK_UUID_W2, CASEBACK_UUID_W3, CASEBACK_UUID_W48)
 */
#define CASEBACK_UUID_SERVICE_STR "decdc7df-2ecb-4d75-b44c-992dccdfca5b"
#define CASEBACK_UUID_INFO_STR "decdc7e0-2ecb-4d75-b44c-992dccdfca5b"
#define CASEBACK_UUID_CONTROL_STR "decdc7e1-2ecb-4d75-b44c-992dccdfca5b"
#define CASEBACK_UUID_DATA_STR "decdc7e2-2ecb-4d75-b44c-992dccdfca5b"
#define CASEBACK_UUID_SMP_SERVICE_STR "8d53dc1d-1db7-4cd3-868b-8a527460aa84"
#define CASEBACK_UUID_SMP_CHARACTERISTIC_STR "da2e7828-fbce-4e01-ae9e-261174997c48"
#define CASEBACK_FACTORY_SERVICE_W32 0xc7327640u
#define CASEBACK_FACTORY_HANDOVER_W32 0xc7327641u
#define CASEBACK_FACTORY_SERVICE_UUID "c7327640-c131-477f-b22d-e5980935cd62"
#define CASEBACK_FACTORY_HANDOVER_UUID "c7327641-c131-477f-b22d-e5980935cd62"
#define CASEBACK_UUID_SERVICE_W32 0xdecdc7dfu
#define CASEBACK_UUID_INFO_W32 0xdecdc7e0u
#define CASEBACK_UUID_CONTROL_W32 0xdecdc7e1u
#define CASEBACK_UUID_DATA_W32 0xdecdc7e2u
#define CASEBACK_UUID_W1 0x2ecb
#define CASEBACK_UUID_W2 0x4d75
#define CASEBACK_UUID_W3 0xb44c
#define CASEBACK_UUID_W48 0x992dccdfca5bull

#define CASEBACK_CONN_INTERVAL_MIN_MS 1000u
#define CASEBACK_CONN_INTERVAL_MAX_MS 1500u
#define CASEBACK_CONN_LATENCY 0u
#define CASEBACK_CONN_SUPERVISION_TIMEOUT_MS 6000u
#define CASEBACK_ATT_MTU_REQUESTED 247u

/* Return value of every codec function: 0 on success, otherwise an ErrorCode (spec/messages.md). */
enum caseback_error {
	CASEBACK_OK = 0x0000,
	CASEBACK_ERR_TRUNCATED = 0x0001,
	CASEBACK_ERR_BAD_MAGIC = 0x0002,
	CASEBACK_ERR_UNSUPPORTED_VERSION = 0x0003,
	CASEBACK_ERR_PAYLOAD_TOO_LONG = 0x0004,
	CASEBACK_ERR_LENGTH_MISMATCH = 0x0005,
	CASEBACK_ERR_BAD_CRC = 0x0006,
	CASEBACK_ERR_UNKNOWN_MSG_TYPE = 0x0100,
	CASEBACK_ERR_BAD_PAYLOAD_LENGTH = 0x0101,
	CASEBACK_ERR_INVALID_FIELD = 0x0102,
	CASEBACK_ERR_UNSUPPORTED = 0x0103,
	CASEBACK_ERR_WRONG_DIRECTION = 0x0104,
	CASEBACK_ERR_LINK_NOT_ENCRYPTED = 0x0200,
	CASEBACK_ERR_BUSY = 0x0201,
	CASEBACK_ERR_BAD_STATE = 0x0202,
	CASEBACK_ERR_NO_SUCH_STREAM = 0x0203,
	CASEBACK_ERR_CURSOR_OUT_OF_RANGE = 0x0204,
	CASEBACK_ERR_INTERNAL = 0x0300,
	/* local only, never sent on the wire */
	CASEBACK_ERR_BUFFER_TOO_SMALL = 0xF001,
	CASEBACK_ERR_NULL_ARGUMENT = 0xF002,
};

struct caseback_frame {
	uint8_t msg_type;
	uint8_t proto_ver;
	uint16_t payload_len;
	uint8_t payload[CASEBACK_MAX_PAYLOAD];
};

uint16_t caseback_crc16_ccitt(const uint8_t *data, size_t len);

/* Decode order: magic, version, oversize, truncated, length mismatch, CRC. */
int caseback_encode_frame(uint8_t msg_type, const uint8_t *payload, uint16_t payload_len,
		       uint8_t *out, size_t out_cap, size_t *out_len);
int caseback_decode_frame(const uint8_t *data, size_t len, struct caseback_frame *frame);

struct caseback_info {
	uint8_t device_id[CASEBACK_DEVICE_ID_LEN];
	uint16_t hw_rev;
	uint16_t fw_rev;
	uint32_t capabilities;
};

struct caseback_error_msg {
	uint16_t code; /* enum caseback_error, or any u16 from a newer peer */
	uint8_t msg_type;
	uint8_t detail;
};

struct caseback_time_anchor_request {
	uint64_t utc_ms;
};

struct caseback_time_anchor_reply {
	uint32_t boot_id;
	uint64_t uptime_ms;
};

struct caseback_config {
	uint8_t mode;
	uint8_t payload_format;
	uint16_t ppg_rate_hz[4]; /* night, day, workout, raw */
	uint16_t burst_period_s;
	uint16_t burst_len_s;
	uint8_t led_mask;
	uint8_t led_green_ma;
	uint8_t led_red_ma;
	uint8_t led_ir_ma;
	uint32_t wear_ppg_dc;
	uint16_t wear_motion_thr;
	uint16_t wear_probe_period_ms;
};

struct caseback_battery {
	uint16_t voltage_mv;
	uint8_t charging;
	uint8_t percent;
	uint16_t avg_current_ua[4]; /* night, day, workout, raw */
};

/* Payload codecs. Encoders write exactly the fixed payload size to `out`; decoders take the
 * payload of a frame. `_frame` decoders also check msg_type. `detail` (nullable) receives the payload
 * offset of the first invalid field, or the expected length for a bad length.
 */
int caseback_encode_info(const struct caseback_info *in, uint8_t *out, size_t cap, size_t *out_len);
int caseback_decode_info(const uint8_t *payload, size_t len, struct caseback_info *out);
int caseback_decode_info_frame(const struct caseback_frame *frame, struct caseback_info *out);

int caseback_encode_error(const struct caseback_error_msg *in, uint8_t *out, size_t cap, size_t *out_len);
int caseback_decode_error(const uint8_t *payload, size_t len, struct caseback_error_msg *out);
int caseback_decode_error_frame(const struct caseback_frame *frame, struct caseback_error_msg *out);

int caseback_encode_time_anchor_request(const struct caseback_time_anchor_request *in, uint8_t *out,
				     size_t cap, size_t *out_len);
int caseback_decode_time_anchor_request(const uint8_t *payload, size_t len,
				     struct caseback_time_anchor_request *out);
int caseback_decode_time_anchor_request_frame(const struct caseback_frame *frame,
					   struct caseback_time_anchor_request *out);
int caseback_encode_time_anchor_reply(const struct caseback_time_anchor_reply *in, uint8_t *out,
				   size_t cap, size_t *out_len);
int caseback_decode_time_anchor_reply(const uint8_t *payload, size_t len,
				   struct caseback_time_anchor_reply *out);
int caseback_decode_time_anchor_reply_frame(const struct caseback_frame *frame,
					 struct caseback_time_anchor_reply *out);

int caseback_config_validate(const struct caseback_config *cfg, uint8_t *detail);
int caseback_encode_config(const struct caseback_config *in, uint8_t *out, size_t cap, size_t *out_len);
int caseback_decode_config(const uint8_t *payload, size_t len, struct caseback_config *out,
			uint8_t *detail);
/* accepts CONFIG_SET and CONFIG_STATE */
int caseback_decode_config_frame(const struct caseback_frame *frame, struct caseback_config *out,
			      uint8_t *detail);

int caseback_battery_validate(const struct caseback_battery *bat, uint8_t *detail);
int caseback_encode_battery(const struct caseback_battery *in, uint8_t *out, size_t cap, size_t *out_len);
int caseback_decode_battery(const uint8_t *payload, size_t len, struct caseback_battery *out,
			 uint8_t *detail);
int caseback_decode_battery_frame(const struct caseback_frame *frame, struct caseback_battery *out,
			       uint8_t *detail);
```

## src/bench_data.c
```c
#include "bench_data.h"

int bench_battery(int32_t mv, int dock, int charging_pin, int fault_pin,
                  struct caseback_battery *out) {
  if (!out || mv < 0 || mv > 2400 || dock < 0 || charging_pin < 0 ||
      fault_pin < 0)
    return CASEBACK_ERR_BAD_STATE;
  out->voltage_mv = (uint16_t)((mv * 7 + 1) / 3);
  out->percent = CASEBACK_PERCENT_UNKNOWN;
  for (int i = 0; i < 4; i++)
    out->avg_current_ua[i] = CASEBACK_CURRENT_UNKNOWN;
  out->charging = !dock          ? CASEBACK_CHARGING_NOT_CHARGING
                  : fault_pin    ? CASEBACK_CHARGING_FAULT
                  : charging_pin ? CASEBACK_CHARGING_CHARGING
                                 : CASEBACK_CHARGING_UNKNOWN;
  return 0;
}

size_t bench_green(const uint8_t *fifo, size_t words, uint8_t *out,
                   size_t cap) {
  size_t n = 0;
  if (!fifo || !out)
    return 0;
  for (size_t i = 0; i < words; i++, fifo += 3) {
    if (fifo[0] >> 3 != 1)
      continue;
    if (cap - n < 3)
      break;
    out[n++] = fifo[2];
    out[n++] = fifo[1];
    out[n++] = fifo[0] & 7;
  }
  return n / 3;
}
```
